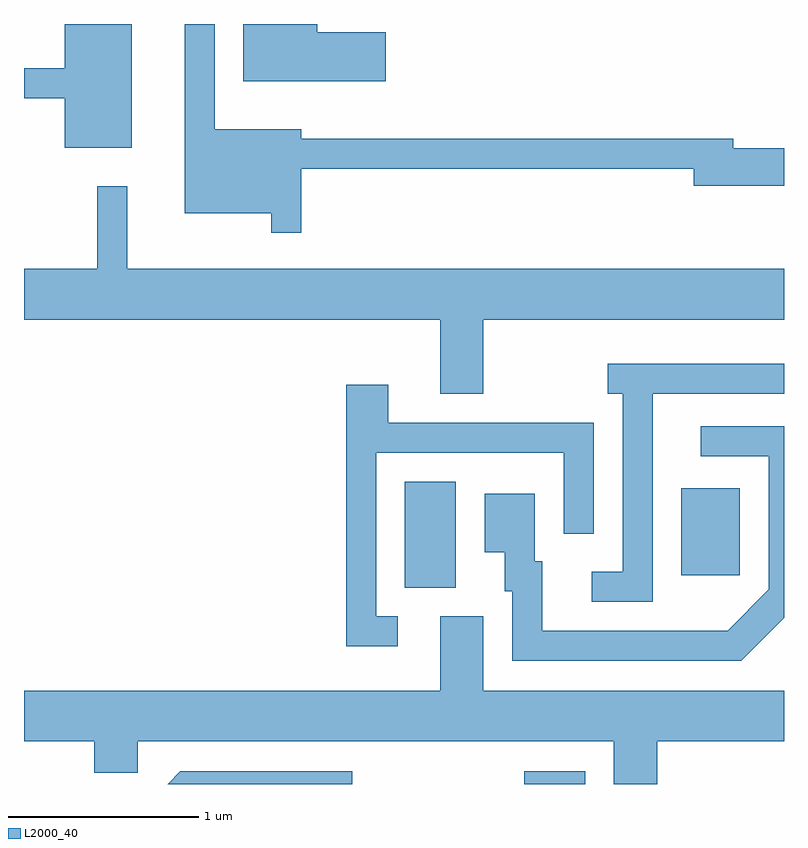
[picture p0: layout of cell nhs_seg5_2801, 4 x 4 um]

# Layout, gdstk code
import gdstk
lib = gdstk.Library(unit=1e-6, precision=1e-09)
def R(c, l, rs):  # rectangles x0, y0, x1, y1
    for r in rs: c.add(gdstk.rectangle(r[:2], r[2:], *l))
def P(c, l, *ps):  # polygons
    for p in ps: c.add(gdstk.Polygon(p, *l))
L2000_40 = (2000, 40)

nhs_seg5_2801 = lib.new_cell('nhs_seg5_2801')
R(nhs_seg5_2801, L2000_40, [(270.243,1512.072,270.564,1512.139), (269.616,1513.106,269.884,1513.664), (271.071,1513.171,271.379,1513.629)])
P(nhs_seg5_2801, L2000_40, [(269.069,1515.311),(271.136,1515.311),(271.136,1515.221),(271.611,1515.221),(271.611,1515.419),(271.344,1515.419),(271.344,1515.469),(269.069,1515.469),(269.069,1515.519),(268.614,1515.519),(268.614,1516.072),(268.456,1516.072),(268.456,1515.076),(268.911,1515.076),(268.911,1514.973),(269.069,1514.973)],
  [(268.179,1516.072),(267.826,1516.072),(267.826,1515.839),(267.611,1515.839),(267.611,1515.681),(267.826,1515.681),(267.826,1515.421),(268.179,1515.421)],
  [(269.514,1516.029),(269.154,1516.029),(269.154,1516.072),(268.766,1516.072),(268.766,1515.771),(269.514,1515.771)],
  [(270.029,1514.516),(271.611,1514.516),(271.611,1514.784),(268.154,1514.784),(268.154,1515.218),(267.996,1515.218),(267.996,1514.784),(267.611,1514.784),(267.611,1514.516),(269.801,1514.516),(269.801,1514.126),(270.029,1514.126)],
  [(270.919,1514.126),(271.611,1514.126),(271.611,1514.284),(270.683,1514.284),(270.683,1514.126),(270.761,1514.126),(270.761,1513.189),(270.598,1513.189),(270.598,1513.031),(270.919,1513.031)],
  [(269.578,1512.954),(269.464,1512.954),(269.464,1513.816),(270.451,1513.816),(270.451,1513.388),(270.609,1513.388),(270.609,1513.974),(269.529,1513.974),(269.529,1514.174),(269.306,1514.174),(269.306,1512.796),(269.578,1512.796)],
  [(271.611,1512.946),(271.611,1513.954),(271.173,1513.954),(271.173,1513.796),(271.531,1513.796),(271.531,1513.097),(271.314,1512.879),(270.339,1512.879),(270.339,1513.244),(270.299,1513.244),(270.299,1513.599),(270.036,1513.599),(270.036,1513.291),(270.141,1513.291),(270.141,1513.086),(270.181,1513.086),(270.181,1512.721),(271.387,1512.721)],
  [(270.944,1512.296),(271.611,1512.296),(271.611,1512.564),(270.029,1512.564),(270.029,1512.954),(269.801,1512.954),(269.801,1512.564),(267.611,1512.564),(267.611,1512.296),(267.981,1512.296),(267.981,1512.131),(268.209,1512.131),(268.209,1512.296),(270.716,1512.296),(270.716,1512.072),(270.944,1512.072)],
  [(269.339,1512.139),(268.434,1512.139),(268.367,1512.072),(269.339,1512.072)])

lib.write_gds('nhs_seg5_2801.gds')
